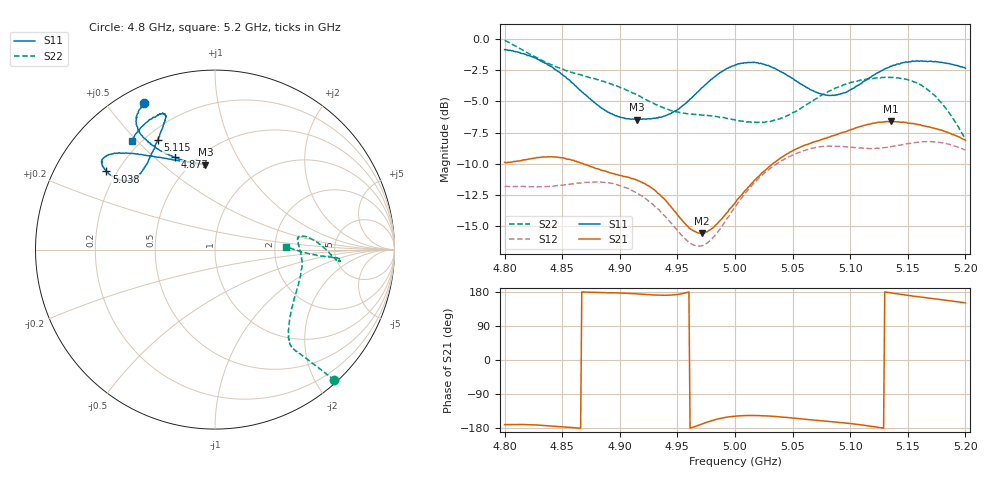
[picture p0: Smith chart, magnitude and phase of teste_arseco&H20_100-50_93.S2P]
! Network Analyzer HP8722D
! Hewlett-Packard
! Data name: Linha & Wilkinson
! Saver's name: Rodrigo Anjos
! Comments: Teste da utilização de aquisição
! continua pelo VNA HP8722D
! Time and date: 6/5/2025 13:20
!  Frequency  S11  S21  S12  S22
# HZ  S  MA R 50
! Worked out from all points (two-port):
!   401 points, 4.8 GHz to 5.2 GHz, reference 50 ohm
!   highest |S21| = -6.61 dB at 5.135 GHz (marker M1); lowest = -15.5 dB at 4.971 GHz (marker M2)
!   |S21| within 3 dB of the highest: 4.822 GHz to 4.854 GHz (31.31 MHz wide, 0.647 % of centre); 5.038 GHz to end of sweep
!   lowest |S11| = -6.5 dB at 4.915 GHz (marker M3), VSWR 2.81, Z = 29 + j35.5 ohm
!   |S11| at or under -10 dB: nowhere
!   |S22| runs from -8.0 to -0.1 dB; largest |S21 - S12| = 0.83
!   S11 on the Smith chart (normalised r, x): 4.8 GHz: 0.07, +0.62; 4.877 GHz: 0.39, +0.58; 5.038 GHz: 0.16, +0.31; 5.115 GHz: 0.25, +0.58; 5.2 GHz: 0.17, +0.48
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4.8e9  0.9045 115.9  0.3205 -170.5  0.2568 -86.1  0.9841 -47.5
4.819e9  0.8631 120.5  0.3292 -170.4  0.2561 -81.9  0.8829 -48.8
4.836e9  0.7966 122.6  0.3367 -173.3  0.2565 -76.2  0.8045 -49.9
4.867e9  0.6134 117.8  0.318 179.6  0.2663 -67.4  0.7153 -51.5
4.877e9  0.5615 113.4  0.3063 178.7  0.2679 -66.3  0.6941 -51.8
4.898e9  0.4898 102.3  0.2865 177.1  0.2603 -66.5  0.6455 -50.4
4.915e9  0.4754 96.4  0.272 174.4  0.2418 -68.3  0.5952 -46.4
4.934e9  0.4861 98.9  0.2397 171.1  0.2074 -69.5  0.538 -37.6
4.96e9  0.5674 117.3  0.1755 179.4  0.1539 -57.9  0.5008 -20.5
4.971e9  0.6357 124.6  0.167 -169.5  0.1486 -45.4  0.4955 -13.9
5e9  0.7852 137.3  0.2208 -148.3  0.2125 -21.4  0.4731 -0.3
5.018e9  0.8025 141.7  0.2744 -146.6  0.2695 -18.3  0.4643 5.7
5.038e9  0.7457 144.3  0.3297 -149.7  0.3205 -18.4  0.477 8.9
5.067e9  0.6213 141.9  0.3849 -158.1  0.3654 -20.6  0.563 4.7
5.088e9  0.5965 133.0  0.4138 -163.9  0.3712 -23.8  0.6368 -1.7
5.115e9  0.6905 117.6  0.4545 -173.5  0.3643 -26.7  0.6902 -5.4
5.134e9  0.77 111.0  0.466 177.9  0.369 -28.8  0.7011 -4.8
5.135e9  0.7762 111.1  0.4673 177.4  0.37 -28.8  0.7006 -4.7
5.148e9  0.8072 110.4  0.463 171.6  0.3792 -31.4  0.6899 -4.0
5.164e9  0.8132 113.5  0.4485 165.0  0.3879 -36.0  0.6421 -3.7
5.181e9  0.8011 119.3  0.4283 158.5  0.3826 -41.3  0.5417 -3.0
5.2e9  0.7626 127.2  0.3927 150.8  0.3591 -46.3  0.3967 2.4
